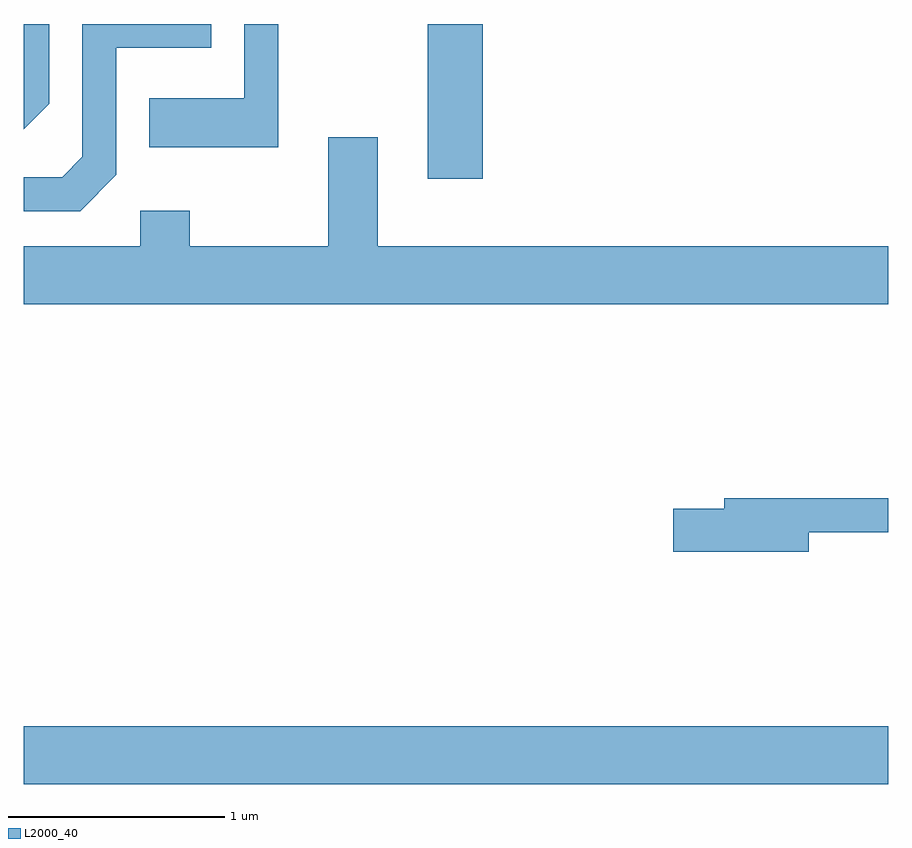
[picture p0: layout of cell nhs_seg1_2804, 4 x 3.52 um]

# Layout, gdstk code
import gdstk
lib = gdstk.Library(unit=1e-6, precision=1e-09)
def R(c, l, rs):  # rectangles x0, y0, x1, y1
    for r in rs: c.add(gdstk.rectangle(r[:2], r[2:], *l))
def P(c, l, *ps):  # polygons
    for p in ps: c.add(gdstk.Polygon(p, *l))
L2000_40 = (2000, 40)

nhs_seg1_2804 = lib.new_cell('nhs_seg1_2804')
R(nhs_seg1_2804, L2000_40, [(269.611,946.196,273.611,946.464), (271.481,948.996,271.734,949.712)])
P(nhs_seg1_2804, L2000_40, [(269.729,949.344),(269.729,949.712),(269.611,949.712),(269.611,949.225)],
  [(270.789,949.712),(270.631,949.712),(270.631,949.369),(270.191,949.369),(270.191,949.141),(270.789,949.141)],
  [(270.039,949.014),(270.039,949.601),(270.479,949.601),(270.479,949.712),(269.881,949.712),(269.881,949.097),(269.789,949.004),(269.611,949.004),(269.611,948.846),(269.872,948.846)],
  [(273.611,948.684),(271.249,948.684),(271.249,949.189),(271.021,949.189),(271.021,948.684),(270.379,948.684),(270.379,948.849),(270.151,948.849),(270.151,948.684),(269.611,948.684),(269.611,948.416),(273.611,948.416)],
  [(273.244,947.361),(273.611,947.361),(273.611,947.519),(272.851,947.519),(272.851,947.469),(272.616,947.469),(272.616,947.271),(273.244,947.271)])

lib.write_gds('nhs_seg1_2804.gds')
